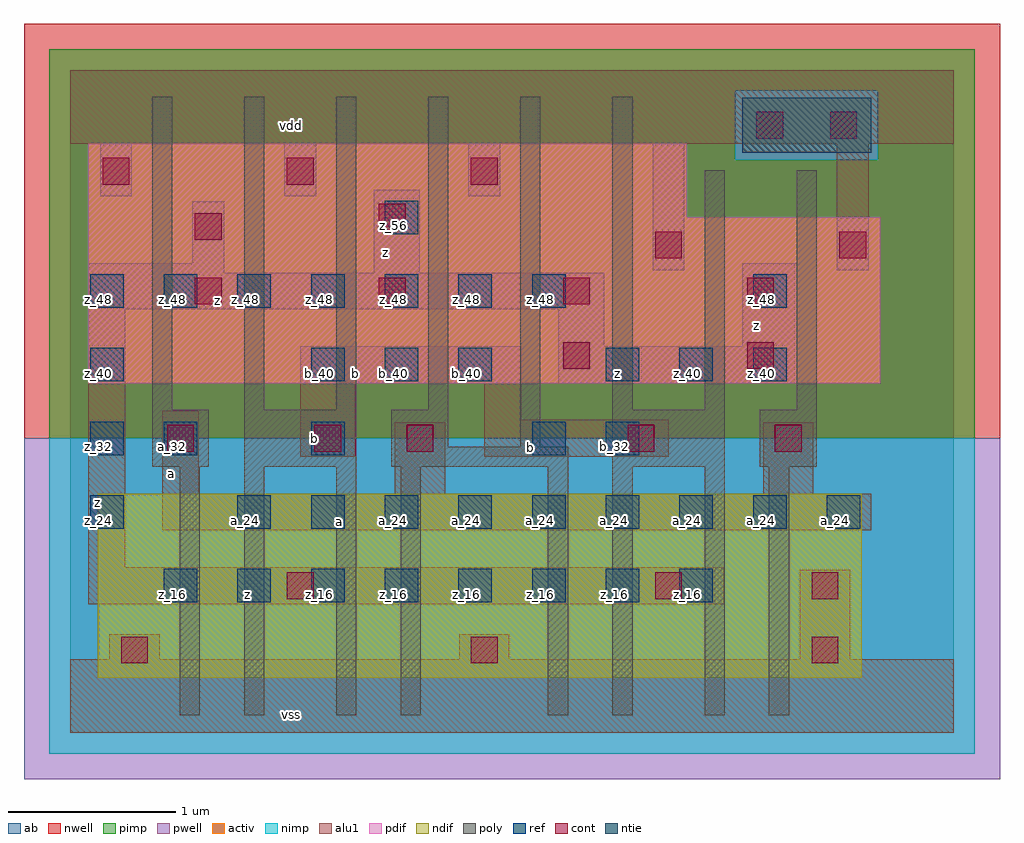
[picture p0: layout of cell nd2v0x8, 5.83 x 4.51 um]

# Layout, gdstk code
import gdstk
lib = gdstk.Library(unit=1e-6, precision=2.5e-09)
def R(c, l, rs):  # rectangles x0, y0, x1, y1
    for r in rs: c.add(gdstk.rectangle(r[:2], r[2:], *l))
def A(c, l, x, y, w, h, nx, ny, dx, dy):  # array of equal rectangles
    R(c, l, [(x+i*dx, y+j*dy, x+i*dx+w, y+j*dy+h) for i in range(nx) for j in range(ny)])
ndif = (3, 0)
pdif = (4, 0)
ntie = (5, 0)
ref = (24, 0)
cont = (25, 0)
pwell = (41, 0)
nwell = (42, 0)
activ = (43, 0)
pimp = (44, 0)
nimp = (45, 0)
poly = (46, 0)
alu1 = (49, 0)
ab = (63, 0)

nd2v0x8 = lib.new_cell('nd2v0x8')
R(nd2v0x8, ndif, [(0.165,0.33,4.73,1.43)])
R(nd2v0x8, pdif, [(0.11,2.09,4.84,3.08), (0.11,3.08,3.685,3.52)])
R(nd2v0x8, ntie, [(4.015,3.465,4.785,3.795)])
A(nd2v0x8, ref, 0.56, 0.78, 0.2, 0.2, 8, 1, 0.44, 0)
A(nd2v0x8, ref, 0.12, 1.22, 0.2, 0.2, 1, 3, 0, 0.44)
A(nd2v0x8, ref, 1, 1.22, 0.2, 0.2, 9, 1, 0.44, 0)
A(nd2v0x8, ref, 1.44, 2.1, 0.2, 0.2, 3, 1, 0.44, 0)
A(nd2v0x8, ref, 3.2, 2.1, 0.2, 0.2, 3, 1, 0.44, 0)
A(nd2v0x8, ref, 0.12, 2.54, 0.2, 0.2, 7, 1, 0.44, 0)
R(nd2v0x8, ref, [(0.56,1.66,0.76,1.86), (1.44,1.66,1.64,1.86), (2.76,1.66,2.96,1.86), (3.2,1.66,3.4,1.86), (4.08,2.54,4.28,2.74), (1.88,2.98,2.08,3.18)])
A(nd2v0x8, cont, 0.745, 2.56, 0.16, 0.16, 4, 1, 1.1, 0)
A(nd2v0x8, cont, 0.195, 3.275, 0.16, 0.16, 3, 1, 1.1, 0)
R(nd2v0x8, cont, [(0.305,0.415,0.465,0.575), (2.395,0.415,2.555,0.575), (4.43,0.415,4.59,0.575), (1.295,0.8,1.455,0.96), (3.495,0.8,3.655,0.96), (4.43,0.8,4.59,0.96), (0.58,1.68,0.74,1.84), (1.46,1.68,1.62,1.84), (2.01,1.68,2.17,1.84), (3.33,1.68,3.49,1.84), (4.21,1.68,4.37,1.84), (2.945,2.175,3.105,2.335), (4.045,2.175,4.205,2.335), (3.495,2.835,3.655,2.995), (4.595,2.835,4.755,2.995), (0.745,2.945,0.905,3.105), (1.845,3,2.005,3.16), (4.1,3.55,4.26,3.71), (4.54,3.55,4.7,3.71)])
R(nd2v0x8, pwell, [(-0.275,-0.275,5.555,1.76)])
R(nd2v0x8, nwell, [(-0.275,1.76,5.555,4.235)])
R(nd2v0x8, activ, [(0.165,0.33,4.73,1.43), (0.11,2.09,4.84,3.08), (0.11,3.08,3.685,3.52), (4.015,3.465,4.785,3.795)])
R(nd2v0x8, pimp, [(-0.125,1.76,5.405,3.425), (-0.125,3.425,3.975,3.835), (4.825,3.425,5.405,3.835), (-0.125,3.835,5.405,4.085)])
R(nd2v0x8, nimp, [(-0.125,-0.125,5.405,1.76), (3.975,3.425,4.825,3.835)])
A(nd2v0x8, poly, 0.49, 1.93, 0.12, 1.87, 4, 1, 0.55, 0)
R(nd2v0x8, poly, [(0.655,0.105,0.775,1.59), (1.04,0.105,1.16,1.59), (1.59,0.105,1.71,1.59), (1.975,0.105,2.095,1.59), (2.855,0.105,2.975,1.59), (3.24,0.105,3.36,1.59), (3.79,0.105,3.91,1.59), (4.175,0.105,4.295,1.59), (0.49,1.59,0.83,1.93), (1.04,1.59,1.71,1.93), (1.92,1.59,2.975,1.71), (3.24,1.59,3.91,1.93), (4.12,1.59,4.46,1.93), (1.92,1.71,2.26,1.93), (2.69,1.71,2.81,3.8), (3.24,1.93,3.36,3.8), (3.79,1.93,3.91,3.36), (4.34,1.93,4.46,3.36)])
A(nd2v0x8, alu1, 0.18, 3.205, 0.19, 0.315, 3, 1, 1.1, 0)
R(nd2v0x8, alu1, [(0,0,5.28,0.44), (0.235,0.44,0.535,0.59), (2.325,0.44,2.625,0.59), (4.36,0.44,4.66,0.975), (0.11,0.77,3.905,0.99), (0.11,0.99,0.33,2.53), (0.55,1.21,4.785,1.43), (0.55,1.43,0.77,1.925), (1.94,1.43,2.24,1.855), (4.14,1.43,4.44,1.855), (1.375,1.65,1.705,2.09), (2.475,1.65,3.575,1.87), (2.475,1.87,2.695,2.09), (1.375,2.09,2.695,2.31), (2.915,2.09,4.345,2.31), (2.915,2.31,3.19,2.53), (4.015,2.31,4.345,2.805), (0.11,2.53,3.19,2.75), (0.11,2.75,0.92,2.805), (1.815,2.75,2.09,3.245), (3.48,2.765,3.67,3.52), (4.58,2.765,4.77,3.52), (0.73,2.805,0.92,3.175), (0,3.52,5.28,3.96)])
R(nd2v0x8, ab, [(0,0,5.28,3.96)])
nd2v0x8.add(gdstk.Label('vss', (1.32,0.11), layer=49, texttype=0))
nd2v0x8.add(gdstk.Label('z', (1.0575,0.825), layer=49, texttype=0))
nd2v0x8.add(gdstk.Label('a', (1.6075,1.265), layer=49, texttype=0))
nd2v0x8.add(gdstk.Label('b', (2.75,1.705), layer=49, texttype=0))
nd2v0x8.add(gdstk.Label('b', (1.4575,1.76), layer=49, texttype=0))
nd2v0x8.add(gdstk.Label('a', (0.605,1.5525), layer=49, texttype=0))
nd2v0x8.add(gdstk.Label('z', (3.2725,2.145), layer=49, texttype=0))
nd2v0x8.add(gdstk.Label('b', (1.705,2.145), layer=49, texttype=0))
nd2v0x8.add(gdstk.Label('z', (4.0975,2.4325), layer=49, texttype=0))
nd2v0x8.add(gdstk.Label('z', (0.165,1.375), layer=49, texttype=0))
nd2v0x8.add(gdstk.Label('z', (0.88,2.585), layer=49, texttype=0))
nd2v0x8.add(gdstk.Label('z', (1.8825,2.8725), layer=49, texttype=0))
nd2v0x8.add(gdstk.Label('vdd', (1.32,3.63), layer=49, texttype=0))
nd2v0x8.add(gdstk.Label('z_16', (0.61,0.83), layer=24, texttype=0))
nd2v0x8.add(gdstk.Label('a_32', (0.61,1.71), layer=24, texttype=0))
nd2v0x8.add(gdstk.Label('z_48', (0.61,2.59), layer=24, texttype=0))
nd2v0x8.add(gdstk.Label('z_16', (1.05,0.83), layer=24, texttype=0))
nd2v0x8.add(gdstk.Label('a_24', (1.05,1.27), layer=24, texttype=0))
nd2v0x8.add(gdstk.Label('z_48', (1.05,2.59), layer=24, texttype=0))
nd2v0x8.add(gdstk.Label('z_16', (1.49,0.83), layer=24, texttype=0))
nd2v0x8.add(gdstk.Label('a_24', (1.49,1.27), layer=24, texttype=0))
nd2v0x8.add(gdstk.Label('b_32', (1.49,1.71), layer=24, texttype=0))
nd2v0x8.add(gdstk.Label('b_40', (1.49,2.15), layer=24, texttype=0))
nd2v0x8.add(gdstk.Label('z_48', (1.49,2.59), layer=24, texttype=0))
nd2v0x8.add(gdstk.Label('z_16', (1.93,0.83), layer=24, texttype=0))
nd2v0x8.add(gdstk.Label('a_24', (1.93,1.27), layer=24, texttype=0))
nd2v0x8.add(gdstk.Label('b_40', (1.93,2.15), layer=24, texttype=0))
nd2v0x8.add(gdstk.Label('z_48', (1.93,2.59), layer=24, texttype=0))
nd2v0x8.add(gdstk.Label('z_56', (1.93,3.03), layer=24, texttype=0))
nd2v0x8.add(gdstk.Label('z_24', (0.17,1.27), layer=24, texttype=0))
nd2v0x8.add(gdstk.Label('z_32', (0.17,1.71), layer=24, texttype=0))
nd2v0x8.add(gdstk.Label('z_40', (0.17,2.15), layer=24, texttype=0))
nd2v0x8.add(gdstk.Label('z_48', (0.17,2.59), layer=24, texttype=0))
nd2v0x8.add(gdstk.Label('z_16', (2.37,0.83), layer=24, texttype=0))
nd2v0x8.add(gdstk.Label('a_24', (2.37,1.27), layer=24, texttype=0))
nd2v0x8.add(gdstk.Label('b_40', (2.37,2.15), layer=24, texttype=0))
nd2v0x8.add(gdstk.Label('z_48', (2.37,2.59), layer=24, texttype=0))
nd2v0x8.add(gdstk.Label('z_16', (2.81,0.83), layer=24, texttype=0))
nd2v0x8.add(gdstk.Label('a_24', (2.81,1.27), layer=24, texttype=0))
nd2v0x8.add(gdstk.Label('b_32', (2.81,1.71), layer=24, texttype=0))
nd2v0x8.add(gdstk.Label('z_48', (2.81,2.59), layer=24, texttype=0))
nd2v0x8.add(gdstk.Label('z_16', (3.25,0.83), layer=24, texttype=0))
nd2v0x8.add(gdstk.Label('a_24', (3.25,1.27), layer=24, texttype=0))
nd2v0x8.add(gdstk.Label('b_32', (3.25,1.71), layer=24, texttype=0))
nd2v0x8.add(gdstk.Label('z_40', (3.25,2.15), layer=24, texttype=0))
nd2v0x8.add(gdstk.Label('z_16', (3.69,0.83), layer=24, texttype=0))
nd2v0x8.add(gdstk.Label('a_24', (3.69,1.27), layer=24, texttype=0))
nd2v0x8.add(gdstk.Label('z_40', (3.69,2.15), layer=24, texttype=0))
nd2v0x8.add(gdstk.Label('a_24', (4.13,1.27), layer=24, texttype=0))
nd2v0x8.add(gdstk.Label('z_40', (4.13,2.15), layer=24, texttype=0))
nd2v0x8.add(gdstk.Label('z_48', (4.13,2.59), layer=24, texttype=0))
nd2v0x8.add(gdstk.Label('a_24', (4.57,1.27), layer=24, texttype=0))

lib.write_gds('nd2v0x8.gds')
